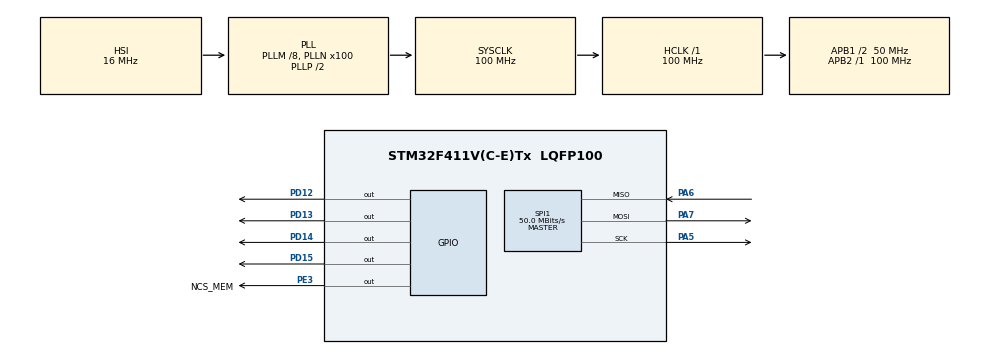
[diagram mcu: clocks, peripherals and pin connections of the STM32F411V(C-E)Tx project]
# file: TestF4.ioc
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Mcu.Family=STM32F4
Mcu.Name=STM32F411V(C-E)Tx
Mcu.Package=LQFP100
NVIC.PriorityGroup=NVIC_PRIORITYGROUP_4
PA13.Mode=Serial_Wire
PA13.Signal=SYS_JTMS-SWDIO
PA14.Mode=Serial_Wire
PA14.Signal=SYS_JTCK-SWCLK
PA5.Mode=Full_Duplex_Master
PA5.Signal=SPI1_SCK
PA6.Mode=Full_Duplex_Master
PA6.Signal=SPI1_MISO
PA7.Mode=Full_Duplex_Master
PA7.Signal=SPI1_MOSI
PD12.Signal=GPIO_Output
PD13.Signal=GPIO_Output
PD14.Signal=GPIO_Output
PD15.Signal=GPIO_Output
PE3.GPIO_Label=NCS_MEM
PE3.PinState=GPIO_PIN_SET
PE3.Signal=GPIO_Output
PH0\ -\ OSC_IN.Mode=HSE-External-Oscillator
PH0\ -\ OSC_IN.Signal=RCC_OSC_IN
PH1\ -\ OSC_OUT.Mode=HSE-External-Oscillator
PH1\ -\ OSC_OUT.Signal=RCC_OSC_OUT
ProjectManager.HeapSize=0x200
ProjectManager.StackSize=0x400
ProjectManager.TargetToolchain=MDK-ARM V5.32
RCC.48MHZClocksFreq_Value=50000000
RCC.AHBFreq_Value=100000000
RCC.APB1CLKDivider=RCC_HCLK_DIV2
RCC.APB1Freq_Value=50000000
RCC.APB1TimFreq_Value=100000000
RCC.APB2Freq_Value=100000000
RCC.APB2TimFreq_Value=100000000
RCC.CortexFreq_Value=100000000
RCC.HCLKFreq_Value=100000000
RCC.HSE_VALUE=25000000
RCC.HSI_VALUE=16000000
RCC.LSE_VALUE=32768
RCC.PLLM=8
RCC.PLLN=100
RCC.SYSCLKFreq_VALUE=100000000
RCC.SYSCLKSource=RCC_SYSCLKSOURCE_PLLCLK
RCC.VCOOutputFreq_Value=200000000
SPI1.BaudRatePrescaler=SPI_BAUDRATEPRESCALER_2
SPI1.CLKPhase=SPI_PHASE_2EDGE
SPI1.CalculateBaudRate=50.0 MBits/s
SPI1.Direction=SPI_DIRECTION_2LINES
SPI1.Mode=SPI_MODE_MASTER
SPI1.VirtualType=VM_MASTER
board=custom

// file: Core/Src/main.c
/* USER CODE BEGIN Header */
/**
  ******************************************************************************
  * @file           : main.c
  * @brief          : Main program body
  ******************************************************************************
  * @attention
  *
  * Copyright (c) 2024 STMicroelectronics.
  * All rights reserved.
  *
  * This software is licensed under terms that can be found in the LICENSE file
  * in the root directory of this software component.
  * If no LICENSE file comes with this software, it is provided AS-IS.
  *
  ******************************************************************************
  */
/* USER CODE END Header */
#include "main.h"
#include "spi.h"
#include "gpio.h"

/* USER CODE BEGIN Includes */
//#include "lis302dl.h"
#include "l3gd20.h"
/* USER CODE END Includes */

/* USER CODE BEGIN PD */
uint8_t ID =0;
float xyz[3],x,y,z;
int ctn =0;
/* USER CODE END PD */

/* USER CODE BEGIN PM */
uint8_t BSP_GYRO_Init(void);
uint8_t SPIx_WriteRead(uint8_t Byte);
void GYRO_IO_Init(void);
void GYRO_IO_DeInit(void);
void GYRO_IO_Write(uint8_t *pBuffer, uint8_t WriteAddr, uint16_t NumByteToWrite);
void GYRO_IO_Read(uint8_t *pBuffer, uint8_t ReadAddr, uint16_t NumByteToRead);

static GYRO_DrvTypeDef *GyroscopeDrv;
typedef enum
{
  GYRO_OK = 0,
  GYRO_ERROR = 1,
  GYRO_TIMEOUT = 2
}GYRO_StatusTypeDef;

void GYRO_IO_Init(void){

}
uint8_t BSP_GYRO_Init(void)
{
  uint8_t ret = GYRO_ERROR;
  uint16_t ctrl = 0x0000;
  GYRO_InitTypeDef         L3GD20_InitStructure;
  GYRO_FilterConfigTypeDef L3GD20_FilterStructure = {0,0};

  if((L3gd20Drv.ReadID() == I_AM_L3GD20) || (L3gd20Drv.ReadID() == I_AM_L3GD20_TR))
  {
    /* Initialize the Gyroscope driver structure */
    GyroscopeDrv = &L3gd20Drv;

    /* MEMS configuration ----------------------------------------------------*/
    /* Fill the Gyroscope structure */
    L3GD20_InitStructure.Power_Mode = L3GD20_MODE_ACTIVE;
    L3GD20_InitStructure.Output_DataRate = L3GD20_OUTPUT_DATARATE_1;
    L3GD20_InitStructure.Axes_Enable = L3GD20_AXES_ENABLE;
    L3GD20_InitStructure.Band_Width = L3GD20_BANDWIDTH_4;
    L3GD20_InitStructure.BlockData_Update = L3GD20_BlockDataUpdate_Continous;
    L3GD20_InitStructure.Endianness = L3GD20_BLE_LSB;
    L3GD20_InitStructure.Full_Scale = L3GD20_FULLSCALE_500;

    /* Configure MEMS: data rate, power mode, full scale and axes */
    ctrl = (uint16_t) (L3GD20_InitStructure.Power_Mode | L3GD20_InitStructure.Output_DataRate | \
                      L3GD20_InitStructure.Axes_Enable | L3GD20_InitStructure.Band_Width);

    ctrl |= (uint16_t) ((L3GD20_InitStructure.BlockData_Update | L3GD20_InitStructure.Endianness | \
                        L3GD20_InitStructure.Full_Scale) << 8);

    /* Configure the Gyroscope main parameters */
    GyroscopeDrv->Init(ctrl);

    L3GD20_FilterStructure.HighPassFilter_Mode_Selection =L3GD20_HPM_NORMAL_MODE_RES;
    L3GD20_FilterStructure.HighPassFilter_CutOff_Frequency = L3GD20_HPFCF_0;

    ctrl = (uint8_t) ((L3GD20_FilterStructure.HighPassFilter_Mode_Selection |\
                       L3GD20_FilterStructure.HighPassFilter_CutOff_Frequency));

    /* Configure the Gyroscope main parameters */
    GyroscopeDrv->FilterConfig(ctrl) ;

    GyroscopeDrv->FilterCmd(L3GD20_HIGHPASSFILTER_ENABLE);

    ret = GYRO_OK;
  }
  return ret;
}
/* USER CODE END PM */

void SystemClock_Config(void);

/* USER CODE BEGIN 0 */
static uint8_t spiTxBuf[2];
static uint8_t spiRxBuf[7];
uint8_t SPIx_WriteRead(uint8_t Byte)
{
  uint8_t receivedbyte = 0;
  HAL_SPI_TransmitReceive(&hspi1, (uint8_t *)&Byte, (uint8_t *)&receivedbyte, 1, 0x1000);
  return receivedbyte;
}
void GYRO_IO_Write(uint8_t *pBuffer, uint8_t WriteAddr, uint16_t NumByteToWrite)
{

  if (NumByteToWrite > 0x01)
  {
    WriteAddr |= (uint8_t)(0x08 | 0x40);
  }
  HAL_GPIO_WritePin(NCS_MEM_GPIO_Port, NCS_MEM_Pin, GPIO_PIN_RESET);

  SPIx_WriteRead(WriteAddr);
  while (NumByteToWrite >= 0x01)
  {
    SPIx_WriteRead(*pBuffer);
    NumByteToWrite--;
    pBuffer++;
  }
  HAL_GPIO_WritePin(NCS_MEM_GPIO_Port, NCS_MEM_Pin, GPIO_PIN_SET);
}

void GYRO_IO_Read(uint8_t *pBuffer, uint8_t ReadAddr, uint16_t NumByteToRead)
{
  if (NumByteToRead > 0x01)
  {
    ReadAddr |= (uint8_t)(0x80 | 0x40);
  }
  else
  {
    ReadAddr |= (uint8_t)0x80;
  }
  HAL_GPIO_WritePin(NCS_MEM_GPIO_Port, NCS_MEM_Pin, GPIO_PIN_RESET);
  SPIx_WriteRead(ReadAddr);
  while (NumByteToRead > 0x00)
  {
    /* Send dummy byte (0x00) to generate the SPI clock to Gyroscope (Slave device) */
    *pBuffer = SPIx_WriteRead(0);
    NumByteToRead--;
    pBuffer++;
  }
  /* Set chip select High at the end of the transmission */
  HAL_GPIO_WritePin(NCS_MEM_GPIO_Port, NCS_MEM_Pin, GPIO_PIN_SET);
}

/* USER CODE END 0 */

int main(void)
{

  /* MCU Configuration--------------------------------------------------------*/

  /* Reset of all peripherals, Initializes the Flash interface and the Systick. */
  HAL_Init();

  /* Configure the system clock */
  SystemClock_Config();

  /* Initialize all configured peripherals */
  MX_GPIO_Init();
  MX_SPI1_Init();
  /* USER CODE BEGIN 2 */

	//HAL_Delay(2000);
	BSP_GYRO_Init();
 ID =L3GD20_ReadID();
  /* USER CODE END 2 */

  /* Infinite loop */
  while (1)
  {

    /* USER CODE BEGIN 3 */

		//HAL_Delay(500);
		//ctn++;
		L3GD20_ReadXYZAngRate(xyz);
		//GyroscopeDrv->GetXYZ(xyz);
	  x = xyz[0];
	  y = xyz[1];
	  z = xyz[2];
  }
  /* USER CODE END 3 */
}

void SystemClock_Config(void)
{
  RCC_OscInitTypeDef RCC_OscInitStruct = {0};
  RCC_ClkInitTypeDef RCC_ClkInitStruct = {0};

  /** Configure the main internal regulator output voltage
  */
  __HAL_RCC_PWR_CLK_ENABLE();
  __HAL_PWR_VOLTAGESCALING_CONFIG(PWR_REGULATOR_VOLTAGE_SCALE1);

  /** Initializes the RCC Oscillators according to the specified parameters
  * in the RCC_OscInitTypeDef structure.
  */
  RCC_OscInitStruct.OscillatorType = RCC_OSCILLATORTYPE_HSI;
  RCC_OscInitStruct.HSIState = RCC_HSI_ON;
  RCC_OscInitStruct.HSICalibrationValue = RCC_HSICALIBRATION_DEFAULT;
  RCC_OscInitStruct.PLL.PLLState = RCC_PLL_ON;
  RCC_OscInitStruct.PLL.PLLSource = RCC_PLLSOURCE_HSI;
  RCC_OscInitStruct.PLL.PLLM = 8;
  RCC_OscInitStruct.PLL.PLLN = 100;
  RCC_OscInitStruct.PLL.PLLP = RCC_PLLP_DIV2;
  RCC_OscInitStruct.PLL.PLLQ = 4;
  if (HAL_RCC_OscConfig(&RCC_OscInitStruct) != HAL_OK)
  {
    Error_Handler();
  }

  /** Initializes the CPU, AHB and APB buses clocks
  */
  RCC_ClkInitStruct.ClockType = RCC_CLOCKTYPE_HCLK|RCC_CLOCKTYPE_SYSCLK
                              |RCC_CLOCKTYPE_PCLK1|RCC_CLOCKTYPE_PCLK2;
  RCC_ClkInitStruct.SYSCLKSource = RCC_SYSCLKSOURCE_PLLCLK;
  RCC_ClkInitStruct.AHBCLKDivider = RCC_SYSCLK_DIV1;
  RCC_ClkInitStruct.APB1CLKDivider = RCC_HCLK_DIV2;
  RCC_ClkInitStruct.APB2CLKDivider = RCC_HCLK_DIV1;

  if (HAL_RCC_ClockConfig(&RCC_ClkInitStruct, FLASH_LATENCY_3) != HAL_OK)
  {
    Error_Handler();
  }
}

void Error_Handler(void)
{
  __disable_irq();
  while (1)
  {
  }
}
